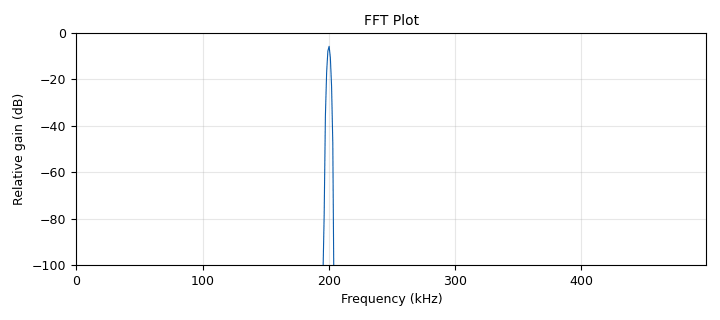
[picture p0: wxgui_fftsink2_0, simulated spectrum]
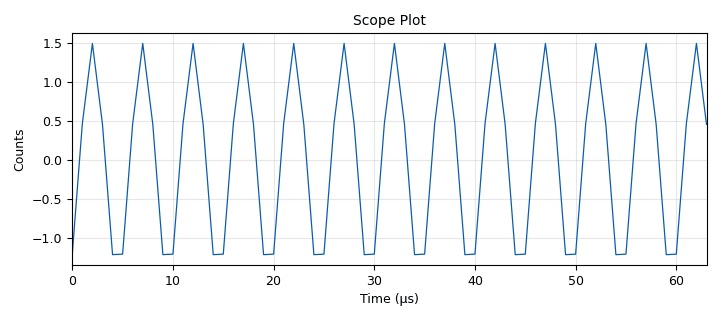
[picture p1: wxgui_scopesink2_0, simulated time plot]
<?xml version='1.0' encoding='utf-8'?>
<?grc format='1' created='3.7.11'?>
<flow_graph>
<block>
<key>options</key>
<param><key>id</key><value>top_block</value></param>
<param><key>generate_options</key><value>wx_gui</value></param>
</block>
<block>
<key>variable</key>
<param><key>id</key><value>samp_rate</value></param>
<param><key>value</key><value>1000000</value></param>
</block>
<block>
<key>analog_sig_source_x</key>
<param><key>id</key><value>Carrier_Wave</value></param>
<param><key>amp</key><value>1</value></param>
<param><key>freq</key><value>carrier_freq</value></param>
<param><key>offset</key><value>0</value></param>
<param><key>type</key><value>float</value></param>
<param><key>samp_rate</key><value>samp_rate</value></param>
<param><key>waveform</key><value>analog.GR_COS_WAVE</value></param>
</block>
<block>
<key>analog_sig_source_x</key>
<param><key>id</key><value>Message_Wave</value></param>
<param><key>amp</key><value>1</value></param>
<param><key>freq</key><value>100</value></param>
<param><key>offset</key><value>0</value></param>
<param><key>type</key><value>float</value></param>
<param><key>samp_rate</key><value>samp_rate</value></param>
<param><key>waveform</key><value>analog.GR_COS_WAVE</value></param>
</block>
<block>
<key>uhd_usrp_sink</key>
<param><key>id</key><value>USRPTX</value></param>
<param><key>ant0</key><value>TX/RX</value></param>
<param><key>center_freq0</key><value>960e6</value></param>
<param><key>norm_gain0</key><value>False</value></param>
<param><key>gain0</key><value>0</value></param>
<param><key>clock_rate</key><value>0.0</value></param>
<param><key>dev_addr</key><value>"addrTX"</value></param>
<param><key>dev_args</key><value>""</value></param>
<param><key>type</key><value>sc16</value></param>
<param><key>samp_rate</key><value>samp_rate</value></param>
<param><key>hide_cmd_port</key><value>False</value></param>
<param><key>hide_lo_controls</key><value>True</value></param>
<param><key>sync</key><value></value></param>
<param><key>len_tag_name</key><value></value></param>
</block>
<block>
<key>parameter</key>
<param><key>id</key><value>addrTX</value></param>
<param><key>type</key><value>string</value></param>
<param><key>value</key><value>192.168.10.5</value></param>
</block>
<block>
<key>audio_sink</key>
<param><key>id</key><value>audio_sink_0</value></param>
<param><key>_enabled</key><value>0</value></param>
<param><key>samp_rate</key><value>22050</value></param>
</block>
<block>
<key>blocks_add_xx</key>
<param><key>id</key><value>blocks_add_xx_0</value></param>
<param><key>type</key><value>float</value></param>
</block>
<block>
<key>blocks_multiply_const_vxx</key>
<param><key>id</key><value>blocks_multiply_const_vxx_0</value></param>
<param><key>const</key><value>ka</value></param>
<param><key>type</key><value>float</value></param>
</block>
<block>
<key>blocks_multiply_xx</key>
<param><key>id</key><value>blocks_multiply_xx_0</value></param>
<param><key>type</key><value>float</value></param>
</block>
<block>
<key>blocks_wavfile_source</key>
<param><key>id</key><value>blocks_wavfile_source_0</value></param>
<param><key>_enabled</key><value>0</value></param>
<param><key>file</key><value>/home/dlopes5/Desktop/ECE_521_Software Defined Radio/CantinaBand60.wav</value></param>
<param><key>repeat</key><value>True</value></param>
</block>
<block>
<key>parameter</key>
<param><key>id</key><value>carrier_freq</value></param>
<param><key>type</key><value>intx</value></param>
<param><key>value</key><value>200000</value></param>
</block>
<block>
<key>parameter</key>
<param><key>id</key><value>ka</value></param>
<param><key>type</key><value>eng_float</value></param>
<param><key>value</key><value>0.5</value></param>
</block>
<block>
<key>parameter</key>
<param><key>id</key><value>message_freq</value></param>
<param><key>type</key><value>intx</value></param>
<param><key>value</key><value>100</value></param>
</block>
<block>
<key>notebook</key>
<param><key>id</key><value>outputs</value></param>
<param><key>labels</key><value>['Scope', 'FFT']</value></param>
<param><key>style</key><value>wx.NB_TOP</value></param>
</block>
<block>
<key>wxgui_fftsink2</key>
<param><key>id</key><value>wxgui_fftsink2_0</value></param>
<param><key>avg_alpha</key><value>0</value></param>
<param><key>average</key><value>False</value></param>
<param><key>baseband_freq</key><value>0</value></param>
<param><key>fft_size</key><value>1024</value></param>
<param><key>freqvar</key><value>None</value></param>
<param><key>notebook</key><value>outputs,1</value></param>
<param><key>peak_hold</key><value>False</value></param>
<param><key>ref_level</key><value>0</value></param>
<param><key>ref_scale</key><value>2.0</value></param>
<param><key>fft_rate</key><value>15</value></param>
<param><key>samp_rate</key><value>samp_rate</value></param>
<param><key>title</key><value>FFT Plot</value></param>
<param><key>type</key><value>float</value></param>
<param><key>win</key><value>None</value></param>
<param><key>y_divs</key><value>10</value></param>
<param><key>y_per_div</key><value>10</value></param>
</block>
<block>
<key>wxgui_scopesink2</key>
<param><key>id</key><value>wxgui_scopesink2_0</value></param>
<param><key>ac_couple</key><value>False</value></param>
<param><key>notebook</key><value>outputs,0</value></param>
<param><key>num_inputs</key><value>1</value></param>
<param><key>samp_rate</key><value>samp_rate</value></param>
<param><key>t_scale</key><value>0</value></param>
<param><key>title</key><value>Scope Plot</value></param>
<param><key>trig_mode</key><value>wxgui.TRIG_MODE_AUTO</value></param>
<param><key>type</key><value>float</value></param>
<param><key>v_offset</key><value>0</value></param>
<param><key>v_scale</key><value>0</value></param>
<param><key>xy_mode</key><value>False</value></param>
<param><key>y_axis_label</key><value>Counts</value></param>
</block>
<connection><source_block_id>Carrier_Wave</source_block_id><sink_block_id>blocks_add_xx_0</sink_block_id><source_key>0</source_key><sink_key>0</sink_key></connection>
<connection><source_block_id>Carrier_Wave</source_block_id><sink_block_id>blocks_multiply_xx_0</sink_block_id><source_key>0</source_key><sink_key>0</sink_key></connection>
<connection><source_block_id>Message_Wave</source_block_id><sink_block_id>blocks_multiply_const_vxx_0</sink_block_id><source_key>0</source_key><sink_key>0</sink_key></connection>
<connection><source_block_id>blocks_add_xx_0</source_block_id><sink_block_id>USRPTX</sink_block_id><source_key>0</source_key><sink_key>0</sink_key></connection>
<connection><source_block_id>blocks_add_xx_0</source_block_id><sink_block_id>wxgui_fftsink2_0</sink_block_id><source_key>0</source_key><sink_key>0</sink_key></connection>
<connection><source_block_id>blocks_add_xx_0</source_block_id><sink_block_id>wxgui_scopesink2_0</sink_block_id><source_key>0</source_key><sink_key>0</sink_key></connection>
<connection><source_block_id>blocks_multiply_const_vxx_0</source_block_id><sink_block_id>blocks_multiply_xx_0</sink_block_id><source_key>0</source_key><sink_key>1</sink_key></connection>
<connection><source_block_id>blocks_multiply_xx_0</source_block_id><sink_block_id>blocks_add_xx_0</sink_block_id><source_key>0</source_key><sink_key>1</sink_key></connection>
<connection><source_block_id>blocks_wavfile_source_0</source_block_id><sink_block_id>audio_sink_0</sink_block_id><source_key>0</source_key><sink_key>0</sink_key></connection>
<connection><source_block_id>blocks_wavfile_source_0</source_block_id><sink_block_id>blocks_multiply_const_vxx_0</sink_block_id><source_key>0</source_key><sink_key>0</sink_key></connection>
</flow_graph>
